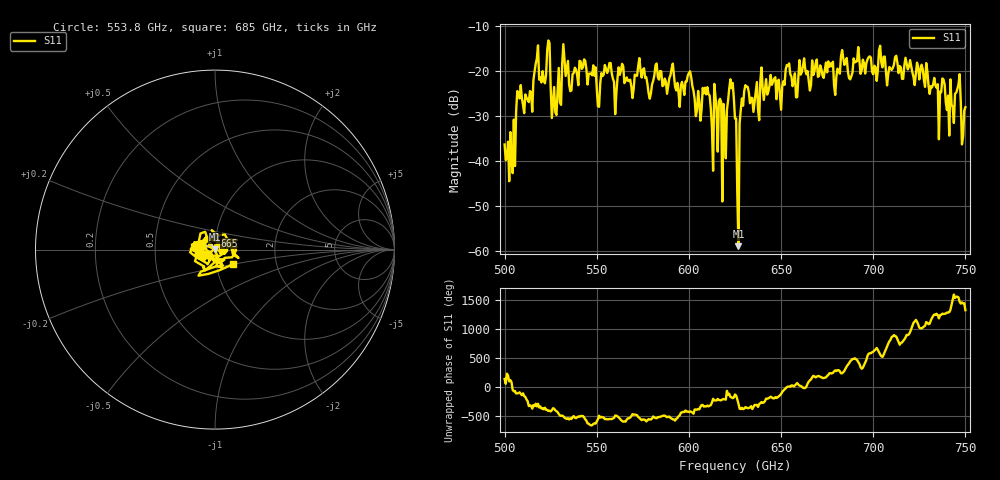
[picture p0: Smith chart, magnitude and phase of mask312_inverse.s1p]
!Created with skrf (http://scikit-rf.org).
# GHz S MA R 50.0
!freq magS11 angS11
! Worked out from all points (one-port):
!   401 points, 500 GHz to 750 GHz, reference 50 ohm
!   lowest |S11| = -58.9 dB at 626.9 GHz (marker M1), VSWR 1.00, Z = 50 + j0.108 ohm
!   |S11| at or under -10 dB: start of sweep to end of sweep
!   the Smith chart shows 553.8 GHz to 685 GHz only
!   S11 on the Smith chart (normalised r, x): 553.8 GHz: 0.83, -0.03; 665 GHz: 0.98, +0.15; 685 GHz: 1.21, -0.20
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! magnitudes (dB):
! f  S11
! 500 GHz  -36.3
! 503.1 GHz  -33.5
! 507.5 GHz  -24.8
! 513.8 GHz  -24.4
! 516.9 GHz  -18.3
! 523.8 GHz  -13.2
! 526.9 GHz  -23.5
! 531.2 GHz  -18.2
! 551.2 GHz  -27.9
! 553.8 GHz  -20.8
! 562.5 GHz  -20.8
! 593.8 GHz  -22.6
! 610 GHz  -23.5
! 619.4 GHz  -31.2
! 623.1 GHz  -23.8
! 625 GHz  -30.5
! 625.6 GHz  -30.5
! 626.9 GHz  -58.9
! 628.8 GHz  -26.0
! 631.2 GHz  -23.5
! 656.2 GHz  -23.3
! 665 GHz  -22.2
! 685 GHz  -17.7
! 687.5 GHz  -21.8
! 718.8 GHz  -19.6
! 742.5 GHz  -27.4
! 745.6 GHz  -24.0
! 750 GHz  -28.0
